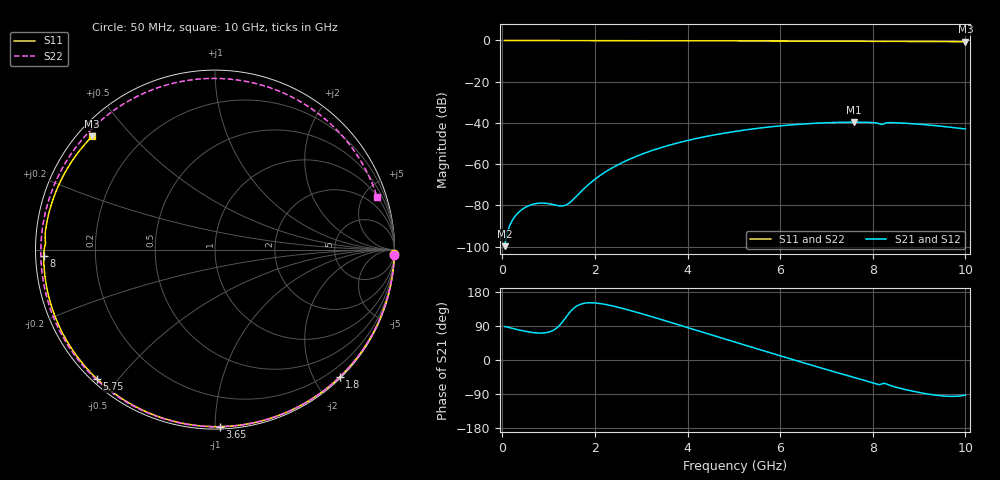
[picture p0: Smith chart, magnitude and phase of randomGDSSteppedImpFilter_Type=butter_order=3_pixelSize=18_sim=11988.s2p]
! freq	dB(S11)	phase(S11)	dB(S12)	phase(S12)
!  dB(S21)	phase(S21)	dB(S22)	phase(S22)
!S-par simulation data
#  GHz  S  DB  R 50
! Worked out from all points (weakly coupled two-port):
!   200 points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, 50 MHz to 10 GHz, reference 50 ohm
!   highest |S21| = -39.65 dB at 7.6 GHz (marker M1); lowest = -99.8 dB at 50 MHz (marker M2)
!   lowest |S11| = -0.6 dB at 10 GHz (marker M3), VSWR 27.95, Z = 2.06 + j19.5 ohm
!   |S11| at or under -10 dB: nowhere
!   |S22| runs from -0.4 to 0.0 dB; largest |S21 - S12| = 0
!   S11 on the Smith chart (normalised r, x): 50 MHz: 0, -88; 1.8 GHz: 0.02, -2.38; 3.65 GHz: 0.01, -1.03; 5.75 GHz: 0.01, -0.44; 8 GHz: 0.02, -0.02; 10 GHz: 0.04, +0.39
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0.05  -0.00 -1.3  -99.81 88.5  -99.81 88.5  -0.00 -1.9
0.65  -0.02 -16.7  -79.56 72.6  -79.56 72.6  -0.03 -24.0
0.9  -0.03 -23.1  -78.91 71.4  -78.91 71.4  -0.04 -33.1
1.35  -0.04 -34.5  -80.07 108.7  -80.07 108.7  -0.06 -49.3
1.5  -0.05 -38.2  -77.86 131.7  -77.86 131.7  -0.07 -54.6
1.75  -0.06 -44.3  -72.23 149.2  -72.23 149.2  -0.08 -63.3
1.8  -0.06 -45.6  -71.16 150.3  -71.16 150.3  -0.08 -65.0
2.1  -0.07 -52.8  -65.70 149.2  -65.70 149.2  -0.09 -75.3
2.45  -0.08 -61.2  -60.87 140.7  -60.87 140.7  -0.11 -87.0
3.4  -0.11 -83.0  -52.19 108.0  -52.19 108.0  -0.15 -117.5
3.65  -0.12 -88.5  -50.55 98.7  -50.55 98.7  -0.16 -125.3
4.35  -0.14 -103.6  -46.81 72.5  -46.81 72.5  -0.20 -147.0
5.05  -0.18 -118.2  -44.05 46.3  -44.05 46.3  -0.24 -168.5
5.75  -0.22 -132.4  -42.02 20.3  -42.02 20.3  -0.28 169.5
6.7  -0.28 -151.4  -40.25 -14.4  -40.25 -14.4  -0.34 138.3
7.6  -0.36 -169.6  -39.65 -46.2  -39.65 -46.2  -0.39 106.9
8  -0.40 -178.0  -39.85 -60.2  -39.85 -60.2  -0.41 92.3
8.2  -0.49 178.0  -40.81 -62.9  -40.81 -62.9  -0.41 84.9
8.35  -0.45 175.1  -39.87 -66.1  -39.87 -66.1  -0.42 79.3
9.1  -0.51 158.4  -40.80 -87.9  -40.80 -87.9  -0.43 51.1
9.55  -0.57 148.1  -41.82 -95.2  -41.82 -95.2  -0.44 34.3
10  -0.62 137.3  -42.86 -92.6  -42.86 -92.6  -0.45 18.0
